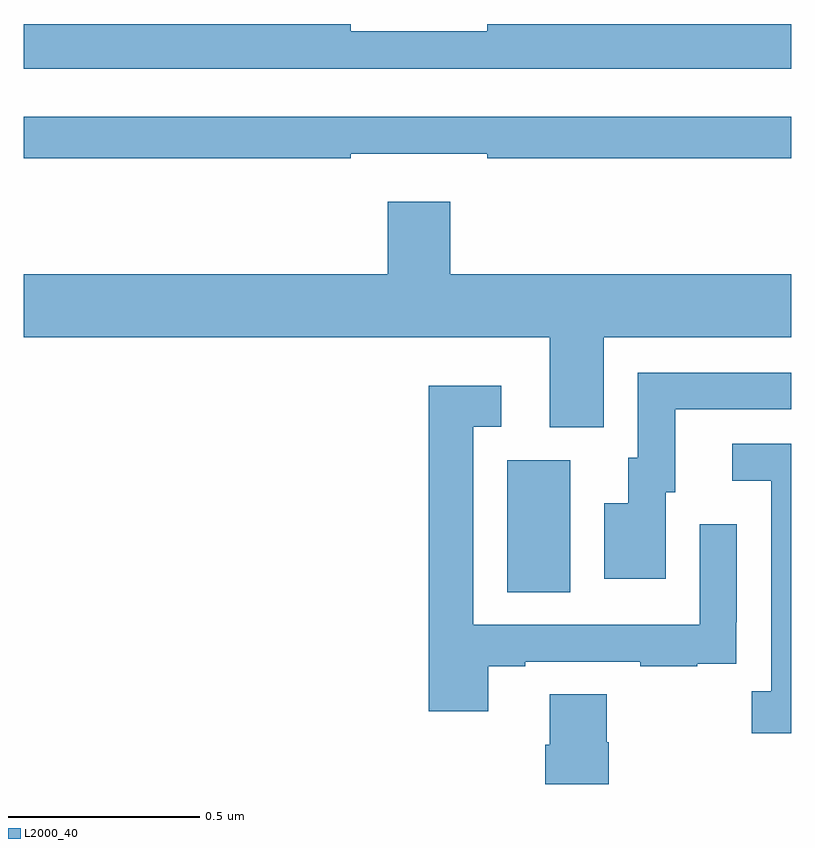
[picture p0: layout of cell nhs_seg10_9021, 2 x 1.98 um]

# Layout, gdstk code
import gdstk
lib = gdstk.Library(unit=1e-6, precision=1e-09)
def R(c, l, rs):  # rectangles x0, y0, x1, y1
    for r in rs: c.add(gdstk.rectangle(r[:2], r[2:], *l))
def P(c, l, *ps):  # polygons
    for p in ps: c.add(gdstk.Polygon(p, *l))
L2000_40 = (2000, 40)

nhs_seg10_9021 = lib.new_cell('nhs_seg10_9021')
R(nhs_seg10_9021, L2000_40, [(225.26,1285,225.424,1285.344)])
P(nhs_seg10_9021, L2000_40, [(226,1286.48),(225.208,1286.48),(225.208,1286.461),(224.852,1286.461),(224.852,1286.48),(224,1286.48),(224,1286.364),(226,1286.364)],
  [(224.852,1286.142),(225.208,1286.142),(225.208,1286.13),(226,1286.13),(226,1286.238),(224,1286.238),(224,1286.13),(224.852,1286.13)],
  [(225.511,1285.664),(226,1285.664),(226,1285.828),(225.112,1285.828),(225.112,1286.017),(224.948,1286.017),(224.948,1285.828),(224,1285.828),(224,1285.664),(225.371,1285.664),(225.371,1285.429),(225.511,1285.429)],
  [(225.673,1285.26),(225.697,1285.26),(225.697,1285.476),(226,1285.476),(226,1285.572),(225.6,1285.572),(225.6,1285.35),(225.575,1285.35),(225.575,1285.231),(225.512,1285.231),(225.512,1285.035),(225.673,1285.035)],
  [(225.211,1284.807),(225.307,1284.807),(225.307,1284.819),(225.607,1284.819),(225.607,1284.807),(225.755,1284.807),(225.755,1284.813),(225.857,1284.813),(225.857,1284.922),(225.858,1284.922),(225.858,1285.177),(225.762,1285.177),(225.762,1284.915),(225.171,1284.915),(225.171,1285.431),(225.244,1285.431),(225.244,1285.537),(225.055,1285.537),(225.055,1284.69),(225.211,1284.69)],
  [(226,1285.386),(225.846,1285.386),(225.846,1285.29),(225.948,1285.29),(225.948,1284.742),(225.897,1284.742),(225.897,1284.632),(226,1284.632)],
  [(225.524,1284.609),(225.519,1284.609),(225.519,1284.734),(225.371,1284.734),(225.371,1284.602),(225.359,1284.602),(225.359,1284.5),(225.524,1284.5)])

lib.write_gds('nhs_seg10_9021.gds')
